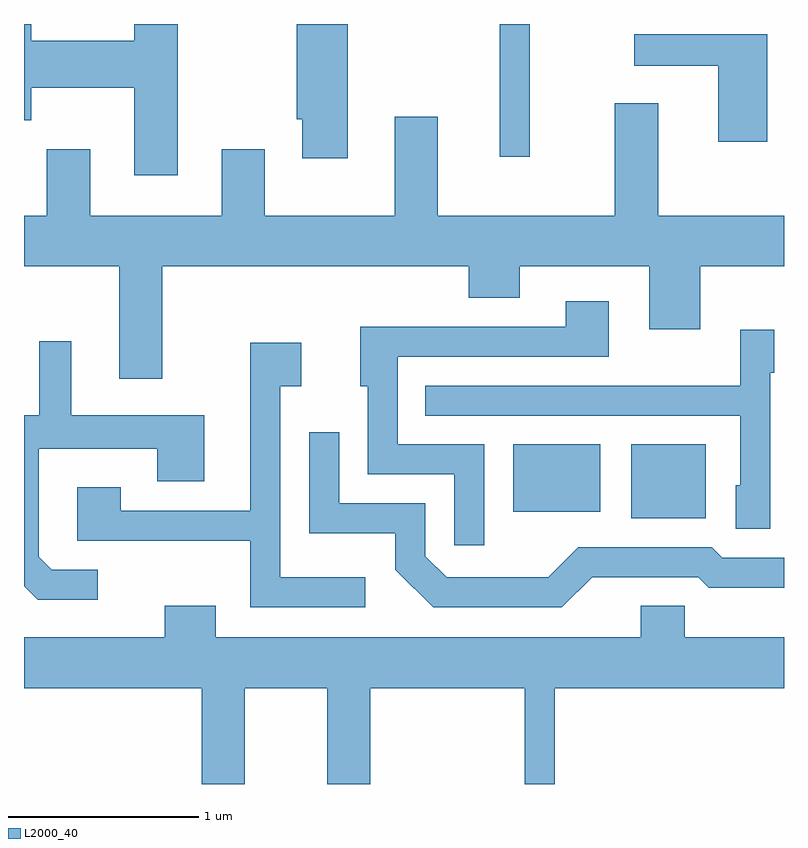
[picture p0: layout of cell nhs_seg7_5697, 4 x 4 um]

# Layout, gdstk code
import gdstk
lib = gdstk.Library(unit=1e-6, precision=1e-09)
def R(c, l, rs):  # rectangles x0, y0, x1, y1
    for r in rs: c.add(gdstk.rectangle(r[:2], r[2:], *l))
def P(c, l, *ps):  # polygons
    for p in ps: c.add(gdstk.Polygon(p, *l))
L2000_40 = (2000, 40)

nhs_seg7_5697 = lib.new_cell('nhs_seg7_5697')
R(nhs_seg7_5697, L2000_40, [(362.806,1719.651,363.199,1720.039), (362.186,1719.686,362.644,1720.039), (362.116,1721.553,362.274,1722.252)])
P(nhs_seg7_5697, L2000_40, [(361.314,1722.252),(361.046,1722.252),(361.046,1721.751),(361.076,1721.751),(361.076,1721.546),(361.314,1721.546)],
  [(360.419,1722.252),(360.191,1722.252),(360.191,1722.164),(359.649,1722.164),(359.649,1722.252),(359.611,1722.252),(359.611,1721.746),(359.649,1721.746),(359.649,1721.916),(360.191,1721.916),(360.191,1721.456),(360.419,1721.456)],
  [(363.524,1722.199),(362.823,1722.199),(362.823,1722.031),(363.266,1722.031),(363.266,1721.631),(363.524,1721.631)],
  [(360.339,1720.976),(361.951,1720.976),(361.951,1720.811),(362.219,1720.811),(362.219,1720.976),(362.901,1720.976),(362.901,1720.646),(363.169,1720.646),(363.169,1720.976),(363.611,1720.976),(363.611,1721.244),(362.949,1721.244),(362.949,1721.834),(362.721,1721.834),(362.721,1721.244),(361.789,1721.244),(361.789,1721.764),(361.561,1721.764),(361.561,1721.244),(360.879,1721.244),(360.879,1721.594),(360.651,1721.594),(360.651,1721.244),(359.959,1721.244),(359.959,1721.594),(359.731,1721.594),(359.731,1721.244),(359.611,1721.244),(359.611,1720.976),(360.111,1720.976),(360.111,1720.386),(360.339,1720.386)],
  [(362.034,1720.039),(361.579,1720.039),(361.579,1720.501),(362.689,1720.501),(362.689,1720.794),(362.461,1720.794),(362.461,1720.659),(361.381,1720.659),(361.381,1720.346),(361.421,1720.346),(361.421,1719.881),(361.876,1719.881),(361.876,1719.508),(362.034,1719.508)],
  [(363.539,1720.416),(363.559,1720.416),(363.559,1720.644),(363.381,1720.644),(363.381,1720.349),(361.723,1720.349),(361.723,1720.191),(363.381,1720.191),(363.381,1719.824),(363.356,1719.824),(363.356,1719.596),(363.539,1719.596)],
  [(359.998,1719.379),(359.757,1719.379),(359.689,1719.447),(359.689,1720.016),(360.311,1720.016),(360.311,1719.846),(360.559,1719.846),(360.559,1720.194),(359.859,1720.194),(359.859,1720.583),(359.691,1720.583),(359.691,1720.194),(359.611,1720.194),(359.611,1719.294),(359.684,1719.221),(359.998,1719.221)],
  [(361.408,1719.339),(360.959,1719.339),(360.959,1720.346),(361.069,1720.346),(361.069,1720.574),(360.801,1720.574),(360.801,1719.689),(360.119,1719.689),(360.119,1719.814),(359.891,1719.814),(359.891,1719.531),(360.801,1719.531),(360.801,1719.181),(361.408,1719.181)],
  [(362.602,1719.341),(363.159,1719.341),(363.214,1719.286),(363.611,1719.286),(363.611,1719.444),(363.287,1719.444),(363.232,1719.499),(362.529,1719.499),(362.369,1719.339),(361.837,1719.339),(361.724,1719.452),(361.724,1719.729),(361.269,1719.729),(361.269,1720.103),(361.111,1720.103),(361.111,1719.571),(361.566,1719.571),(361.566,1719.379),(361.764,1719.181),(362.442,1719.181)],
  [(360.774,1718.756),(361.206,1718.756),(361.206,1718.252),(361.434,1718.252),(361.434,1718.756),(362.246,1718.756),(362.246,1718.252),(362.404,1718.252),(362.404,1718.756),(363.611,1718.756),(363.611,1719.024),(363.089,1719.024),(363.089,1719.189),(362.856,1719.189),(362.856,1719.024),(360.619,1719.024),(360.619,1719.189),(360.351,1719.189),(360.351,1719.024),(359.611,1719.024),(359.611,1718.756),(360.546,1718.756),(360.546,1718.252),(360.774,1718.252)])

lib.write_gds('nhs_seg7_5697.gds')
